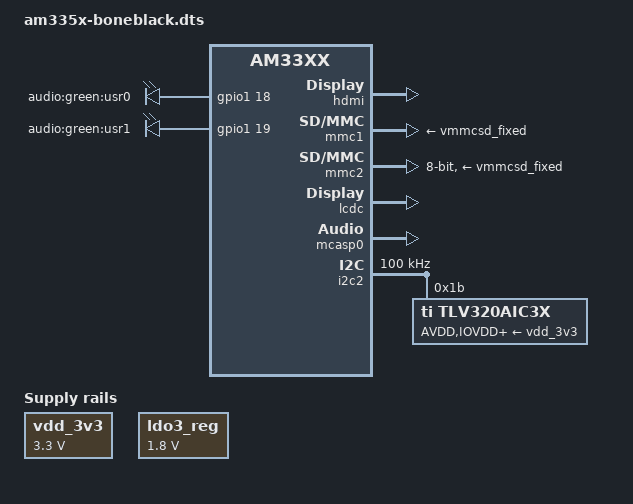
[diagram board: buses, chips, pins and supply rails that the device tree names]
/*
 * Copyright (C) 2012 Texas Instruments Incorporated - http://www.ti.com/
 *
 * This program is free software; you can redistribute it and/or modify
 * it under the terms of the GNU General Public License version 2 as
 * published by the Free Software Foundation.
 */
/dts-v1/;

#include "am33xx.dtsi"
#include "am335x-bone-common.dtsi"

&hdmi {
	status = "okay";
};

&ldo3_reg {
	regulator-min-microvolt = <1800000>;
	regulator-max-microvolt = <1800000>;
	regulator-always-on;
};

&mmc1 {
	vmmc-supply = <&vmmcsd_fixed>;
};

&mmc2 {
	vmmc-supply = <&vmmcsd_fixed>;
	pinctrl-names = "default";
	pinctrl-0 = <&emmc_pins>;
	bus-width = <8>;
	status = "okay";
	ti,vcc-aux-disable-is-sleep;
};

&am33xx_pinmux {
	nxp_hdmi_bonelt_pins: nxp_hdmi_bonelt_pins {
		pinctrl-single,pins = <
			0x1b0 0x03      /* xdma_event_intr0, OMAP_MUX_MODE3 | AM33XX_PIN_OUTPUT */
			0xa0 0x08       /* lcd_data0.lcd_data0, OMAP_MUX_MODE0 | AM33XX_PIN_OUTPUT | AM33XX_PULL_DISA */
			0xa4 0x08       /* lcd_data1.lcd_data1, OMAP_MUX_MODE0 | AM33XX_PIN_OUTPUT | AM33XX_PULL_DISA */
			0xa8 0x08       /* lcd_data2.lcd_data2, OMAP_MUX_MODE0 | AM33XX_PIN_OUTPUT | AM33XX_PULL_DISA */
			0xac 0x08       /* lcd_data3.lcd_data3, OMAP_MUX_MODE0 | AM33XX_PIN_OUTPUT | AM33XX_PULL_DISA */
			0xb0 0x08       /* lcd_data4.lcd_data4, OMAP_MUX_MODE0 | AM33XX_PIN_OUTPUT | AM33XX_PULL_DISA */
			0xb4 0x08       /* lcd_data5.lcd_data5, OMAP_MUX_MODE0 | AM33XX_PIN_OUTPUT | AM33XX_PULL_DISA */
			0xb8 0x08       /* lcd_data6.lcd_data6, OMAP_MUX_MODE0 | AM33XX_PIN_OUTPUT | AM33XX_PULL_DISA */
			0xbc 0x08       /* lcd_data7.lcd_data7, OMAP_MUX_MODE0 | AM33XX_PIN_OUTPUT | AM33XX_PULL_DISA */
			0xc0 0x08       /* lcd_data8.lcd_data8, OMAP_MUX_MODE0 | AM33XX_PIN_OUTPUT | AM33XX_PULL_DISA */
			0xc4 0x08       /* lcd_data9.lcd_data9, OMAP_MUX_MODE0 | AM33XX_PIN_OUTPUT | AM33XX_PULL_DISA */
			0xc8 0x08       /* lcd_data10.lcd_data10, OMAP_MUX_MODE0 | AM33XX_PIN_OUTPUT | AM33XX_PULL_DISA */
			0xcc 0x08       /* lcd_data11.lcd_data11, OMAP_MUX_MODE0 | AM33XX_PIN_OUTPUT | AM33XX_PULL_DISA */
			0xd0 0x08       /* lcd_data12.lcd_data12, OMAP_MUX_MODE0 | AM33XX_PIN_OUTPUT | AM33XX_PULL_DISA */
			0xd4 0x08       /* lcd_data13.lcd_data13, OMAP_MUX_MODE0 | AM33XX_PIN_OUTPUT | AM33XX_PULL_DISA */
			0xd8 0x08       /* lcd_data14.lcd_data14, OMAP_MUX_MODE0 | AM33XX_PIN_OUTPUT | AM33XX_PULL_DISA */
			0xdc 0x08       /* lcd_data15.lcd_data15, OMAP_MUX_MODE0 | AM33XX_PIN_OUTPUT | AM33XX_PULL_DISA */
			0xe0 0x00       /* lcd_vsync.lcd_vsync, OMAP_MUX_MODE0 | AM33XX_PIN_OUTPUT */
			0xe4 0x00       /* lcd_hsync.lcd_hsync, OMAP_MUX_MODE0 | AM33XX_PIN_OUTPUT */
			0xe8 0x00       /* lcd_pclk.lcd_pclk, OMAP_MUX_MODE0 | AM33XX_PIN_OUTPUT */
			0xec 0x00       /* lcd_ac_bias_en.lcd_ac_bias_en, OMAP_MUX_MODE0 | AM33XX_PIN_OUTPUT */
		>;
	};

	nxp_hdmi_bonelt_off_pins: nxp_hdmi_bonelt_off_pins {
		pinctrl-single,pins = <
			0x1b0 0x03      /* xdma_event_intr0, OMAP_MUX_MODE3 | AM33XX_PIN_OUTPUT */
		>;
	};

	bone_audio_cape_led_pins: pinmux_bone_audio_cape_led_pins {
		pinctrl-single,pins = <
			0x48 0x07	/* gpmc_a2.gpio1_18, OUTPUT | MODE7 */
			0x4c 0x07	/* gpmc_a3.gpio1_19, OUTPUT | MODE7 */
		>;
	};

	bone_audio_cape_audio_pins: pinmux_bone_audio_cape_audio_pins {
		pinctrl-single,pins = <
			0x190 0x20	/* mcasp0_aclkx.mcasp0_aclkx, INPUT | MODE0 */
			0x194 0x20	/* mcasp0_fsx.mcasp0_fsx, INPUT | MODE0 */
			0x19c 0x22	/* mcasp0_ahclkr.mcasp0_axr2, INPUT | MODE2 */
			0x1ac 0x22	/* mcasp0_ahclkx.mcasp0_axr3, INPUT | MODE2 */
		>;
	};

	i2c2_pins: pinmux_i2c2_pins {
		pinctrl-single,pins = <
			0x178 (SLEWCTRL_SLOW | PIN_INPUT_PULLUP | MUX_MODE3) 	/* uart1_ctsn.i2c2_sda */
			0x17c (SLEWCTRL_SLOW | PIN_INPUT_PULLUP | MUX_MODE3)	/* uart1_rtsn.i2c2_scl */
		>;
	};
};

&lcdc {
	status = "okay";
};

/ {
	hdmi {
		compatible = "ti,tilcdc,slave";
		i2c = <&i2c0>;
		pinctrl-names = "default", "off";
		pinctrl-0 = <&nxp_hdmi_bonelt_pins>;
		pinctrl-1 = <&nxp_hdmi_bonelt_off_pins>;
		status = "okay";
	};

	vdd_3v3: fixedregulator@0 {
		compatible = "regulator-fixed";
		regulator-name = "vdd_3v3";
		regulator-min-microvolt = <3300000>;
		regulator-max-microvolt = <3300000>;
		regulator-boot-on;
	};

	sound {
		compatible = "ti,da830-evm-audio";
		ti,model = "DA830 EVM";
		ti,audio-codec = <&tlv320aic3x>;
		ti,mcasp-controller = <&mcasp0>;
		ti,codec-clock-rate = <12000000>;
		ti,audio-routing =
			"Headphone Jack",       "HPLOUT",
			"Headphone Jack",       "HPROUT",
			"LINE1L",               "Line In",
			"LINE1R",               "Line In";
	};

	gpio-leds-cape-audio {
		compatible = "gpio-leds";
		pinctrl-names = "default";
		pinctrl-0 = <&bone_audio_cape_led_pins>;

		audio-led0 {
			label = "audio:green:usr0";
			gpios = <&gpio1 18 GPIO_ACTIVE_HIGH>;
			linux,default-trigger = "heartbeat";
			default-state = "off";
		};

		audio-led1 {
			label = "audio:green:usr1";
			gpios = <&gpio1 19 GPIO_ACTIVE_HIGH>;
			linux,default-trigger = "mmc0";
			default-state = "off";
		};
	};
};

&mcasp0 {
	pinctrl-names = "default";
	pinctrl-0 = <&bone_audio_cape_audio_pins>;
	status = "okay";

	op-mode = <0>;          /* MCASP_IIS_MODE */
	tdm-slots = <2>;
	serial-dir = <  /* 0: INACTIVE, 1: TX, 2: RX */
		0 0 2 1
		0 0 0 0
		0 0 0 0
		0 0 0 0
	>;
	tx-num-evt = <1>;
	rx-num-evt = <1>;
};



&i2c2 {
	status = "okay";
	pinctrl-names = "default";
	pinctrl-0 = <&i2c2_pins>;

	clock-frequency = <100000>;

	tlv320aic3x: tlv320aic3x@1b {
		compatible = "ti,tlv320aic3x";
		reg = <0x1b>;
		status = "okay";

		/* Regulators */
		AVDD-supply = <&vdd_3v3>;
		IOVDD-supply = <&vdd_3v3>;
		DRVDD-supply = <&vdd_3v3>;
		DVDD-supply = <&vdd_3v3>;
	};
};
